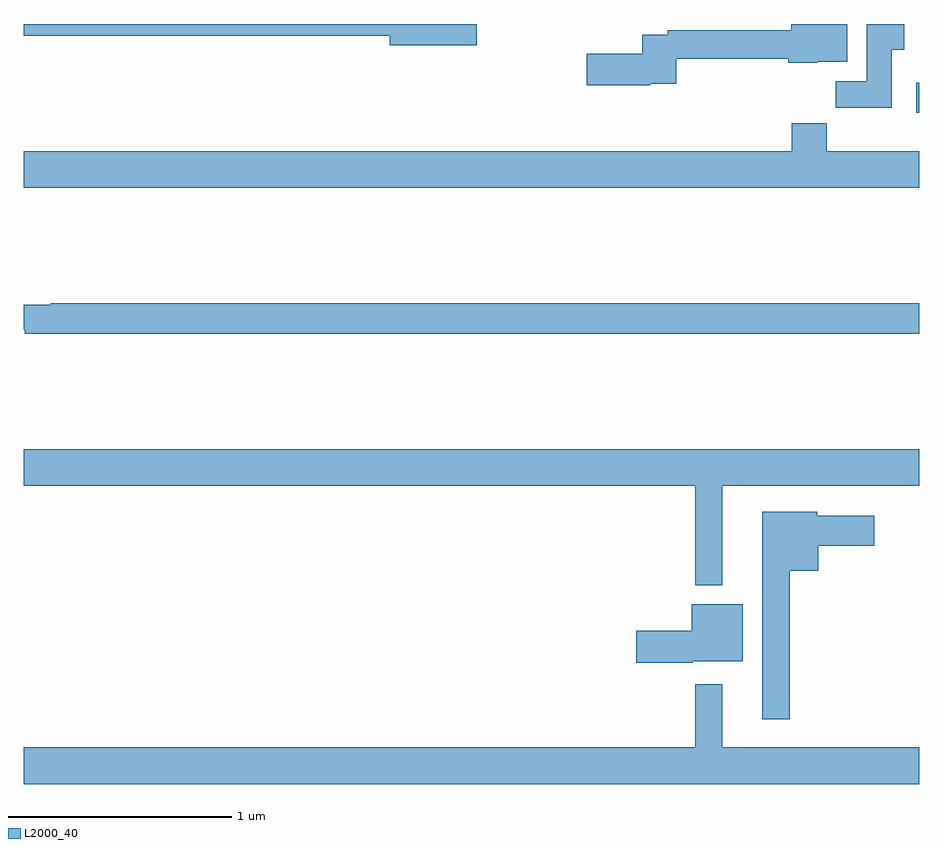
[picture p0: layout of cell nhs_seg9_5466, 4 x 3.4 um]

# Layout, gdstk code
import gdstk
lib = gdstk.Library(unit=1e-6, precision=1e-09)
def R(c, l, rs):  # rectangles x0, y0, x1, y1
    for r in rs: c.add(gdstk.rectangle(r[:2], r[2:], *l))
def P(c, l, *ps):  # polygons
    for p in ps: c.add(gdstk.Polygon(p, *l))
L2000_40 = (2000, 40)

nhs_seg9_5466 = lib.new_cell('nhs_seg9_5466')
R(nhs_seg9_5466, L2000_40, [(432.987,1182.104,433,1182.238)])
P(nhs_seg9_5466, L2000_40, [(432.877,1182.385),(432.934,1182.385),(432.934,1182.5),(432.767,1182.5),(432.767,1182.244),(432.628,1182.244),(432.628,1182.126),(432.877,1182.126)],
  [(431.798,1182.233),(431.915,1182.233),(431.915,1182.345),(432.416,1182.345),(432.416,1182.326),(432.546,1182.326),(432.546,1182.332),(432.679,1182.332),(432.679,1182.5),(432.428,1182.5),(432.428,1182.473),(431.878,1182.473),(431.878,1182.453),(431.762,1182.453),(431.762,1182.368),(431.514,1182.368),(431.514,1182.226),(431.798,1182.226)],
  [(431.023,1182.5),(429,1182.5),(429,1182.448),(430.634,1182.448),(430.634,1182.406),(431.023,1182.406)],
  [(433,1181.932),(432.587,1181.932),(432.587,1182.056),(432.431,1182.056),(432.431,1181.932),(429,1181.932),(429,1181.768),(433,1181.768)],
  [(433,1181.252),(429.119,1181.252),(429.119,1181.245),(429,1181.245),(429,1181.135),(429.004,1181.135),(429.004,1181.116),(433,1181.116)],
  [(432.121,1180.436),(433,1180.436),(433,1180.6),(429,1180.6),(429,1180.436),(432,1180.436),(432,1179.992),(432.121,1179.992)],
  [(432.421,1180.058),(432.55,1180.058),(432.55,1180.169),(432.799,1180.169),(432.799,1180.303),(432.546,1180.303),(432.546,1180.321),(432.299,1180.321),(432.299,1179.393),(432.421,1179.393)],
  [(431.988,1179.653),(432.211,1179.653),(432.211,1179.907),(431.984,1179.907),(431.984,1179.788),(431.736,1179.788),(431.736,1179.646),(431.988,1179.646)],
  [(433,1179.268),(432.121,1179.268),(432.121,1179.55),(432,1179.55),(432,1179.268),(429,1179.268),(429,1179.104),(433,1179.104)])

lib.write_gds('nhs_seg9_5466.gds')
